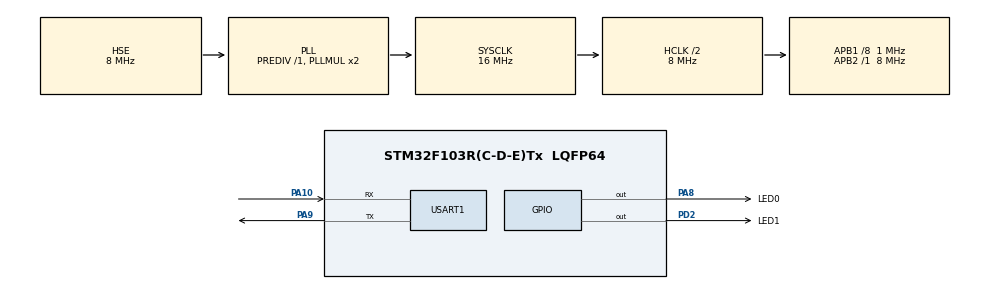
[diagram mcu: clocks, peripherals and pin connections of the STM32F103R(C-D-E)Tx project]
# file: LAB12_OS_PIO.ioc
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FREERTOS.CountingSemaphores01=CountingSem01,3,Dynamic,NULL
FREERTOS.Queues01=myQueue01,16,uint16_t,0,Dynamic,NULL,NULL
FREERTOS.Tasks01=MsgProducer,0,128,MsgProducerTask,Default,NULL,Dynamic,NULL,NULL;MsgConsumer,-1,128,MsgConsumerTask,Default,NULL,Dynamic,NULL,NULL
FREERTOS.configTOTAL_HEAP_SIZE=4096
FREERTOS.configUSE_COUNTING_SEMAPHORES=1
Mcu.Family=STM32F1
Mcu.Name=STM32F103R(C-D-E)Tx
Mcu.Package=LQFP64
NVIC.PriorityGroup=NVIC_PRIORITYGROUP_4
NVIC.TIM3_IRQn=true\:0\:0\:false\:false\:true\:false\:false\:true
NVIC.TimeBase=TIM3_IRQn
NVIC.TimeBaseIP=TIM3
PA10.Mode=Asynchronous
PA10.Signal=USART1_RX
PA13.Mode=Serial_Wire
PA13.Signal=SYS_JTMS-SWDIO
PA14.Mode=Serial_Wire
PA14.Signal=SYS_JTCK-SWCLK
PA8.GPIO_Label=LED0
PA8.Signal=GPIO_Output
PA9.Mode=Asynchronous
PA9.Signal=USART1_TX
PD0-OSC_IN.Mode=HSE-External-Oscillator
PD0-OSC_IN.Signal=RCC_OSC_IN
PD1-OSC_OUT.Mode=HSE-External-Oscillator
PD1-OSC_OUT.Signal=RCC_OSC_OUT
PD2.GPIO_Label=LED1
PD2.Signal=GPIO_Output
ProjectManager.HeapSize=0x200
ProjectManager.StackSize=0x400
ProjectManager.TargetToolchain=Makefile
RCC.ADCPresc=RCC_ADCPCLK2_DIV8
RCC.AHBCLKDivider=RCC_SYSCLK_DIV2
RCC.AHBFreq_Value=8000000
RCC.APB1CLKDivider=RCC_HCLK_DIV8
RCC.APB1Freq_Value=1000000
RCC.APB1TimFreq_Value=2000000
RCC.APB2Freq_Value=8000000
RCC.APB2TimFreq_Value=8000000
RCC.HCLKFreq_Value=8000000
RCC.PLLSourceVirtual=RCC_PLLSOURCE_HSE
RCC.SYSCLKFreq_VALUE=16000000
RCC.SYSCLKSource=RCC_SYSCLKSOURCE_PLLCLK
RCC.USBFreq_Value=16000000
USART1.VirtualMode=VM_ASYNC
VP_FREERTOS_VS_CMSIS_V1.Mode=CMSIS_V1
VP_SYS_VS_tim3.Mode=TIM3
board=custom

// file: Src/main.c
/* USER CODE BEGIN Header */
/**
  ******************************************************************************
  * @file           : main.c
  * @brief          : Main program body
  ******************************************************************************
  * @attention
  *
  * <h2><center>&copy; Copyright (c) 2019 STMicroelectronics.
  * All rights reserved.</center></h2>
  *
  * This software component is licensed by ST under Ultimate Liberty license
  * SLA0044, the "License"; You may not use this file except in compliance with
  * the License. You may obtain a copy of the License at:
  *                             www.st.com/SLA0044
  *
  ******************************************************************************
  */
/* USER CODE END Header */

#include "main.h"
#include "cmsis_os.h"
#include "usart.h"
#include "gpio.h"

void SystemClock_Config(void);
void MX_FREERTOS_Init(void);

int main(void)
{

  /* MCU Configuration--------------------------------------------------------*/

  /* Reset of all peripherals, Initializes the Flash interface and the Systick. */
  HAL_Init();

  /* Configure the system clock */
  SystemClock_Config();

  /* Initialize all configured peripherals */
  MX_GPIO_Init();
  MX_USART1_UART_Init();

  /* Call init function for freertos objects (in freertos.c) */
  MX_FREERTOS_Init();

  /* Start scheduler */
  osKernelStart();

  /* We should never get here as control is now taken by the scheduler */

  /* Infinite loop */
  while (1)
  {

  }
}

void SystemClock_Config(void)
{
  RCC_OscInitTypeDef RCC_OscInitStruct = {0};
  RCC_ClkInitTypeDef RCC_ClkInitStruct = {0};

  /** Initializes the CPU, AHB and APB busses clocks
  */
  RCC_OscInitStruct.OscillatorType = RCC_OSCILLATORTYPE_HSE;
  RCC_OscInitStruct.HSEState = RCC_HSE_ON;
  RCC_OscInitStruct.HSEPredivValue = RCC_HSE_PREDIV_DIV1;
  RCC_OscInitStruct.HSIState = RCC_HSI_ON;
  RCC_OscInitStruct.PLL.PLLState = RCC_PLL_ON;
  RCC_OscInitStruct.PLL.PLLSource = RCC_PLLSOURCE_HSE;
  RCC_OscInitStruct.PLL.PLLMUL = RCC_PLL_MUL2;
  if (HAL_RCC_OscConfig(&RCC_OscInitStruct) != HAL_OK)
  {
    Error_Handler();
  }
  /** Initializes the CPU, AHB and APB busses clocks
  */
  RCC_ClkInitStruct.ClockType = RCC_CLOCKTYPE_HCLK|RCC_CLOCKTYPE_SYSCLK
                              |RCC_CLOCKTYPE_PCLK1|RCC_CLOCKTYPE_PCLK2;
  RCC_ClkInitStruct.SYSCLKSource = RCC_SYSCLKSOURCE_PLLCLK;
  RCC_ClkInitStruct.AHBCLKDivider = RCC_SYSCLK_DIV2;
  RCC_ClkInitStruct.APB1CLKDivider = RCC_HCLK_DIV8;
  RCC_ClkInitStruct.APB2CLKDivider = RCC_HCLK_DIV1;

  if (HAL_RCC_ClockConfig(&RCC_ClkInitStruct, FLASH_LATENCY_0) != HAL_OK)
  {
    Error_Handler();
  }
}

void HAL_TIM_PeriodElapsedCallback(TIM_HandleTypeDef *htim)
{
  if (htim->Instance == TIM3) {
    HAL_IncTick();
  }
}

void Error_Handler(void)
{
}

/************************ (C) COPYRIGHT STMicroelectronics *****END OF FILE****/

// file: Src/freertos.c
/* USER CODE BEGIN Header */
/**
  ******************************************************************************
  * File Name          : freertos.c
  * Description        : Code for freertos applications
  ******************************************************************************
  * @attention
  *
  * <h2><center>&copy; Copyright (c) 2019 STMicroelectronics.
  * All rights reserved.</center></h2>
  *
  * This software component is licensed by ST under Ultimate Liberty license
  * SLA0044, the "License"; You may not use this file except in compliance with
  * the License. You may obtain a copy of the License at:
  *                             www.st.com/SLA0044
  *
  ******************************************************************************
  */
/* USER CODE END Header */

#include "FreeRTOS.h"
#include "task.h"
#include "main.h"
#include "cmsis_os.h"

/* USER CODE BEGIN Includes */
#include "string.h"
// #include "stdio.h"
/* USER CODE END Includes */

/* USER CODE BEGIN Variables */
extern UART_HandleTypeDef huart1;
typedef struct
{
  uint16_t var;
} mailStruct;
osMailQId mail01Handle;

/* USER CODE END Variables */
osThreadId MsgProducerHandle;
osThreadId MsgConsumerHandle;
osMessageQId myQueue01Handle;
osSemaphoreId CountingSem01Handle;

/* USER CODE BEGIN FunctionPrototypes */
#ifdef __GNUC__
#define PUTCHAR_PROTO int __io_putchar(int ch)
#else
#define PUTCHAR_PROTO int fputc(int ch, FILE *f)
#endif
PUTCHAR_PROTO
{
  HAL_UART_Transmit(&huart1, (uint8_t *)&ch, 1, 0xffff);
  return ch;
}

int _write(int file, char *ptr, int len)
{
  int DataIdx;
  for (DataIdx = 0; DataIdx < len; DataIdx++)
  {
    __io_putchar(*ptr++);
  }
  return len;
}
/* USER CODE END FunctionPrototypes */

void MsgProducerTask(void const * argument);
void MsgConsumerTask(void const * argument);

void MX_FREERTOS_Init(void); /* (MISRA C 2004 rule 8.1) */

void MX_FREERTOS_Init(void) {
  /* USER CODE BEGIN Init */
  HAL_GPIO_WritePin(LED0_GPIO_Port, LED0_Pin, SET);
  /* USER CODE END Init */

  /* Create the semaphores(s) */
  /* definition and creation of CountingSem01 */
  osSemaphoreDef(CountingSem01);
  CountingSem01Handle = osSemaphoreCreate(osSemaphore(CountingSem01), 4);

  /* Create the queue(s) */
  /* definition and creation of myQueue01 */
  osMessageQDef(myQueue01, 16, uint16_t);
  myQueue01Handle = osMessageCreate(osMessageQ(myQueue01), NULL);

  /* USER CODE BEGIN RTOS_QUEUES */
  osMailQDef(mail01, 4, mailStruct);
  mail01Handle = osMailCreate(osMailQ(mail01), NULL);

  /* add queues, ... */
  /* USER CODE END RTOS_QUEUES */

  /* Create the thread(s) */
  /* definition and creation of MsgProducer */
  osThreadDef(MsgProducer, MsgProducerTask, osPriorityNormal, 0, 128);
  MsgProducerHandle = osThreadCreate(osThread(MsgProducer), NULL);

  /* definition and creation of MsgConsumer */
  osThreadDef(MsgConsumer, MsgConsumerTask, osPriorityBelowNormal, 0, 128);
  MsgConsumerHandle = osThreadCreate(osThread(MsgConsumer), NULL);

}

void MsgProducerTask(void const * argument)
{
  /* USER CODE BEGIN MsgProducerTask */
  u_int8_t i=0;
  /* Infinite loop */
  for (;;)
  {
    printf("[Producer>] Try produce %d.\n",i);
    osSemaphoreWait(CountingSem01Handle, osWaitForever);
    printf("[Producer>] %d produced.\n",i++);
  }
  /* USER CODE END MsgProducerTask */
}

void MsgConsumerTask(void const * argument)
{
  /* USER CODE BEGIN MsgConsumerTask */
  /* Infinite loop */
  for (;;)
  {
    osDelay(1000);
    printf("[>Consumer] Cosumes.\n");
    osSemaphoreRelease(CountingSem01Handle);
  }
  /* USER CODE END MsgConsumerTask */
}

/************************ (C) COPYRIGHT STMicroelectronics *****END OF FILE****/
